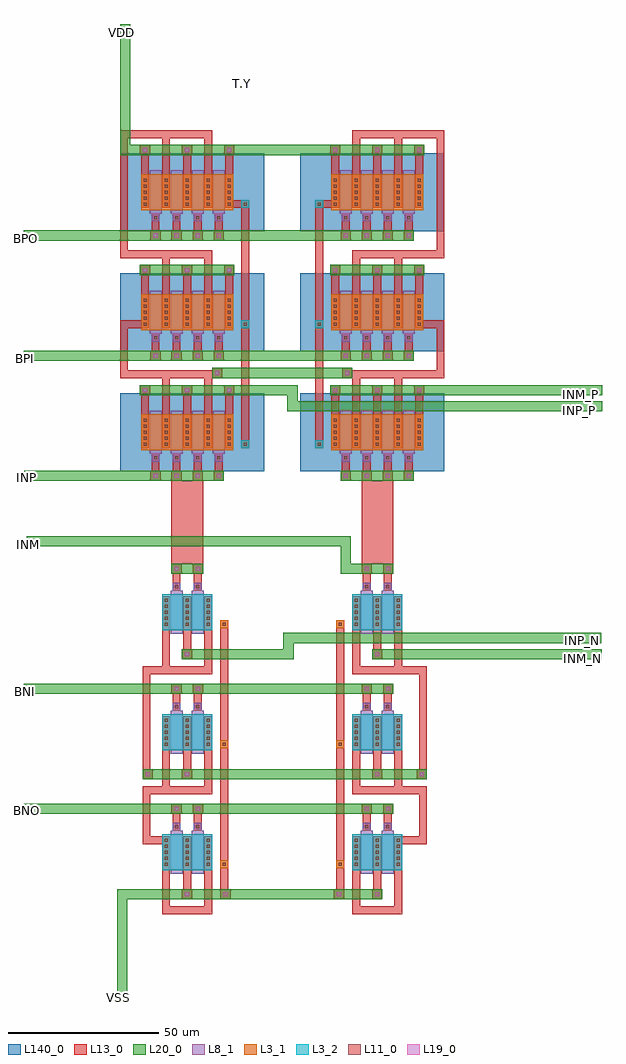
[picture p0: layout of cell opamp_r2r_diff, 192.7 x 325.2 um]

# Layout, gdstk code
import gdstk
lib = gdstk.Library(unit=1e-6, precision=1e-07)
def R(c, l, rs):  # rectangles x0, y0, x1, y1
    for r in rs: c.add(gdstk.rectangle(r[:2], r[2:], *l))
def A(c, l, x, y, w, h, nx, ny, dx, dy):  # array of equal rectangles
    R(c, l, [(x+i*dx, y+j*dy, x+i*dx+w, y+j*dy+h) for i in range(nx) for j in range(ny)])
L3_1 = (3, 1)
L3_2 = (3, 2)
L8_1 = (8, 1)
L11_0 = (11, 0)
L13_0 = (13, 0)
L19_0 = (19, 0)
L20_0 = (20, 0)
L140_0 = (140, 0)

fet_p = lib.new_cell('fet_p')
R(fet_p, L3_1, [(-15.3,-6,15.3,6)])
A(fet_p, L11_0, -14.5, -4.5, 1, 1, 5, 5, 7, 2)
A(fet_p, L13_0, -15.3, -5.3, 2.6, 10.6, 5, 1, 7, 0)
fet_p.add(gdstk.FlexPath([(3.5,-7.2),(3.5,7.2)], 4, ends="flush", simple_path=True, layer=8, datatype=1))  # L8_1
fet_p.add(gdstk.FlexPath([(-3.5,-7.2),(-3.5,7.2)], 4, ends="flush", simple_path=True, layer=8, datatype=1))  # L8_1
fet_p.add(gdstk.FlexPath([(10.5,-7.2),(10.5,7.2)], 4, ends="flush", simple_path=True, layer=8, datatype=1))  # L8_1
fet_p.add(gdstk.FlexPath([(-10.5,-7.2),(-10.5,7.2)], 4, ends="flush", simple_path=True, layer=8, datatype=1))  # L8_1

cont_g = lib.new_cell('cont_g')
R(cont_g, L8_1, [(-1.3,-1.3,1.3,1.3)])
R(cont_g, L11_0, [(-0.5,-0.5,0.5,0.5)])
R(cont_g, L13_0, [(-1.3,-1.3,1.3,1.3)])

via_1 = lib.new_cell('via_1')
R(via_1, L13_0, [(-1.7,-1.7,1.7,1.7)])
R(via_1, L19_0, [(-0.7,-0.7,0.7,0.7)])
R(via_1, L20_0, [(-1.7,-1.7,1.7,1.7)])

cont_n = lib.new_cell('cont_n')
R(cont_n, L3_2, [(-1.3,-1.3,1.3,1.3)])
R(cont_n, L11_0, [(-0.5,-0.5,0.5,0.5)])
R(cont_n, L13_0, [(-1.3,-1.3,1.3,1.3)])

fet_n = lib.new_cell('fet_n')
R(fet_n, L3_2, [(-8.3,-6,8.3,6)])
A(fet_n, L11_0, -7.5, -4.5, 1, 1, 3, 5, 7, 2)
A(fet_n, L13_0, -8.3, -5.3, 2.6, 10.6, 3, 1, 7, 0)
fet_n.add(gdstk.FlexPath([(3.5,-7.2),(3.5,7.2)], 4, ends="flush", simple_path=True, layer=8, datatype=1))  # L8_1
fet_n.add(gdstk.FlexPath([(-3.5,-7.2),(-3.5,7.2)], 4, ends="flush", simple_path=True, layer=8, datatype=1))  # L8_1

cont_p = lib.new_cell('cont_p')
R(cont_p, L3_1, [(-1.3,-1.3,1.3,1.3)])
R(cont_p, L11_0, [(-0.5,-0.5,0.5,0.5)])
R(cont_p, L13_0, [(-1.3,-1.3,1.3,1.3)])

opamp_r2r_diff = lib.new_cell('opamp_r2r_diff')
R(opamp_r2r_diff, L13_0, [(-5.2,-23.8,5.3,3.8), (58.2,-23.8,68.7,3.8)])
A(opamp_r2r_diff, L140_0, -22.3, 7, 48, 26, 1, 3, 0, 40)
A(opamp_r2r_diff, L140_0, 37.7, 7, 48, 26, 1, 3, 0, 40)
opamp_r2r_diff.add(gdstk.FlexPath([(44,94.7),(44,57.3)], 2.6, ends="flush", simple_path=True, layer=13, datatype=0))  # L13_0
opamp_r2r_diff.add(gdstk.FlexPath([(44,54.7),(44,17.3)], 2.6, ends="flush", simple_path=True, layer=13, datatype=0))  # L13_0
opamp_r2r_diff.add(gdstk.FlexPath([(71.7,39.3),(84.4,39.3),(84.4,56),(78.7,56)], 2.6, ends="flush", simple_path=True, layer=13, datatype=0))  # L13_0
opamp_r2r_diff.add(gdstk.FlexPath([(71.7,79.3),(84.4,79.3),(84.4,119.3),(71.7,119.3)], 2.6, ends="flush", simple_path=True, layer=13, datatype=0))  # L13_0
opamp_r2r_diff.add(gdstk.FlexPath([(52.9,90.2),(52.9,87.2)], 2.6, ends="flush", simple_path=True, layer=13, datatype=0))  # L13_0
opamp_r2r_diff.add(gdstk.FlexPath([(59.9,90.2),(59.9,87.2)], 2.6, ends="flush", simple_path=True, layer=13, datatype=0))  # L13_0
opamp_r2r_diff.add(gdstk.FlexPath([(66.9,90.2),(66.9,87.2)], 2.6, ends="flush", simple_path=True, layer=13, datatype=0))  # L13_0
opamp_r2r_diff.add(gdstk.FlexPath([(73.9,90.2),(73.9,87.2)], 2.6, ends="flush", simple_path=True, layer=13, datatype=0))  # L13_0
opamp_r2r_diff.add(gdstk.FlexPath([(52.9,50.2),(52.9,47.2)], 2.6, ends="flush", simple_path=True, layer=13, datatype=0))  # L13_0
opamp_r2r_diff.add(gdstk.FlexPath([(59.9,50.2),(59.9,47.2)], 2.6, ends="flush", simple_path=True, layer=13, datatype=0))  # L13_0
opamp_r2r_diff.add(gdstk.FlexPath([(66.9,50.2),(66.9,47.2)], 2.6, ends="flush", simple_path=True, layer=13, datatype=0))  # L13_0
opamp_r2r_diff.add(gdstk.FlexPath([(73.9,50.2),(73.9,47.2)], 2.6, ends="flush", simple_path=True, layer=13, datatype=0))  # L13_0
opamp_r2r_diff.add(gdstk.FlexPath([(52.9,10.2),(52.9,7.2)], 2.6, ends="flush", simple_path=True, layer=13, datatype=0))  # L13_0
opamp_r2r_diff.add(gdstk.FlexPath([(59.9,10.2),(59.9,7.2)], 2.6, ends="flush", simple_path=True, layer=13, datatype=0))  # L13_0
opamp_r2r_diff.add(gdstk.FlexPath([(66.9,10.2),(66.9,7.2)], 2.6, ends="flush", simple_path=True, layer=13, datatype=0))  # L13_0
opamp_r2r_diff.add(gdstk.FlexPath([(73.9,10.2),(73.9,7.2)], 2.6, ends="flush", simple_path=True, layer=13, datatype=0))  # L13_0
opamp_r2r_diff.add(gdstk.FlexPath([(56.4,65.3),(56.4,79.3)], 2.6, ends="flush", simple_path=True, layer=13, datatype=0))  # L13_0
opamp_r2r_diff.add(gdstk.FlexPath([(49.4,65.3),(49.4,72.3)], 2.6, ends="flush", simple_path=True, layer=13, datatype=0))  # L13_0
opamp_r2r_diff.add(gdstk.FlexPath([(63.4,65.3),(63.4,72.3)], 2.6, ends="flush", simple_path=True, layer=13, datatype=0))  # L13_0
opamp_r2r_diff.add(gdstk.FlexPath([(77.4,65.3),(77.4,72.3)], 2.6, ends="flush", simple_path=True, layer=13, datatype=0))  # L13_0
opamp_r2r_diff.add(gdstk.FlexPath([(70.4,65.3),(70.4,79.3)], 2.6, ends="flush", simple_path=True, layer=13, datatype=0))  # L13_0
opamp_r2r_diff.add(gdstk.FlexPath([(55.1,79.3),(71.7,79.3)], 2.6, ends="flush", simple_path=True, layer=13, datatype=0))  # L13_0
opamp_r2r_diff.add(gdstk.FlexPath([(56.4,105.3),(56.4,119.3)], 2.6, ends="flush", simple_path=True, layer=13, datatype=0))  # L13_0
opamp_r2r_diff.add(gdstk.FlexPath([(49.4,105.3),(49.4,112.3)], 2.6, ends="flush", simple_path=True, layer=13, datatype=0))  # L13_0
opamp_r2r_diff.add(gdstk.FlexPath([(63.4,105.3),(63.4,112.3)], 2.6, ends="flush", simple_path=True, layer=13, datatype=0))  # L13_0
opamp_r2r_diff.add(gdstk.FlexPath([(77.4,105.3),(77.4,112.3)], 2.6, ends="flush", simple_path=True, layer=13, datatype=0))  # L13_0
opamp_r2r_diff.add(gdstk.FlexPath([(70.4,105.3),(70.4,119.3)], 2.6, ends="flush", simple_path=True, layer=13, datatype=0))  # L13_0
opamp_r2r_diff.add(gdstk.FlexPath([(55.1,119.3),(71.7,119.3)], 2.6, ends="flush", simple_path=True, layer=13, datatype=0))  # L13_0
opamp_r2r_diff.add(gdstk.FlexPath([(56.4,25.3),(56.4,39.3)], 2.6, ends="flush", simple_path=True, layer=13, datatype=0))  # L13_0
opamp_r2r_diff.add(gdstk.FlexPath([(49.4,25.3),(49.4,32.3)], 2.6, ends="flush", simple_path=True, layer=13, datatype=0))  # L13_0
opamp_r2r_diff.add(gdstk.FlexPath([(63.4,25.3),(63.4,32.3)], 2.6, ends="flush", simple_path=True, layer=13, datatype=0))  # L13_0
opamp_r2r_diff.add(gdstk.FlexPath([(77.4,25.3),(77.4,32.3)], 2.6, ends="flush", simple_path=True, layer=13, datatype=0))  # L13_0
opamp_r2r_diff.add(gdstk.FlexPath([(70.4,25.3),(70.4,39.3)], 2.6, ends="flush", simple_path=True, layer=13, datatype=0))  # L13_0
opamp_r2r_diff.add(gdstk.FlexPath([(55.1,39.3),(71.7,39.3)], 2.6, ends="flush", simple_path=True, layer=13, datatype=0))  # L13_0
opamp_r2r_diff.add(gdstk.FlexPath([(48.1,96),(42.7,96)], 2.6, ends="flush", simple_path=True, layer=13, datatype=0))  # L13_0
opamp_r2r_diff.add(gdstk.FlexPath([(19.4,54.7),(19.4,17.3)], 2.6, ends="flush", simple_path=True, layer=13, datatype=0))  # L13_0
opamp_r2r_diff.add(gdstk.FlexPath([(-8.3,39.3),(-21,39.3),(-21,56),(-15.3,56)], 2.6, ends="flush", simple_path=True, layer=13, datatype=0))  # L13_0
opamp_r2r_diff.add(gdstk.FlexPath([(-8.3,79.3),(-21,79.3),(-21,119.3),(-8.3,119.3)], 2.6, ends="flush", simple_path=True, layer=13, datatype=0))  # L13_0
opamp_r2r_diff.add(gdstk.FlexPath([(19.4,94.7),(19.4,57.3)], 2.6, ends="flush", simple_path=True, layer=13, datatype=0))  # L13_0
opamp_r2r_diff.add(gdstk.FlexPath([(14,105.3),(14,112.3)], 2.6, ends="flush", simple_path=True, layer=13, datatype=0))  # L13_0
opamp_r2r_diff.add(gdstk.FlexPath([(7,105.3),(7,119.3)], 2.6, ends="flush", simple_path=True, layer=13, datatype=0))  # L13_0
opamp_r2r_diff.add(gdstk.FlexPath([(-8.3,119.3),(8.3,119.3)], 2.6, ends="flush", simple_path=True, layer=13, datatype=0))  # L13_0
opamp_r2r_diff.add(gdstk.FlexPath([(-7,25.3),(-7,39.3)], 2.6, ends="flush", simple_path=True, layer=13, datatype=0))  # L13_0
opamp_r2r_diff.add(gdstk.FlexPath([(-14,25.3),(-14,32.3)], 2.6, ends="flush", simple_path=True, layer=13, datatype=0))  # L13_0
opamp_r2r_diff.add(gdstk.FlexPath([(0,25.3),(0,32.3)], 2.6, ends="flush", simple_path=True, layer=13, datatype=0))  # L13_0
opamp_r2r_diff.add(gdstk.FlexPath([(14,25.3),(14,32.3)], 2.6, ends="flush", simple_path=True, layer=13, datatype=0))  # L13_0
opamp_r2r_diff.add(gdstk.FlexPath([(7,25.3),(7,39.3)], 2.6, ends="flush", simple_path=True, layer=13, datatype=0))  # L13_0
opamp_r2r_diff.add(gdstk.FlexPath([(-8.3,39.3),(8.3,39.3)], 2.6, ends="flush", simple_path=True, layer=13, datatype=0))  # L13_0
opamp_r2r_diff.add(gdstk.FlexPath([(-10.5,90.2),(-10.5,87.2)], 2.6, ends="flush", simple_path=True, layer=13, datatype=0))  # L13_0
opamp_r2r_diff.add(gdstk.FlexPath([(-3.5,90.2),(-3.5,87.2)], 2.6, ends="flush", simple_path=True, layer=13, datatype=0))  # L13_0
opamp_r2r_diff.add(gdstk.FlexPath([(3.5,90.2),(3.5,87.2)], 2.6, ends="flush", simple_path=True, layer=13, datatype=0))  # L13_0
opamp_r2r_diff.add(gdstk.FlexPath([(10.5,90.2),(10.5,87.2)], 2.6, ends="flush", simple_path=True, layer=13, datatype=0))  # L13_0
opamp_r2r_diff.add(gdstk.FlexPath([(-10.5,10.2),(-10.5,7.2)], 2.6, ends="flush", simple_path=True, layer=13, datatype=0))  # L13_0
opamp_r2r_diff.add(gdstk.FlexPath([(-3.5,10.2),(-3.5,7.2)], 2.6, ends="flush", simple_path=True, layer=13, datatype=0))  # L13_0
opamp_r2r_diff.add(gdstk.FlexPath([(3.5,10.2),(3.5,7.2)], 2.6, ends="flush", simple_path=True, layer=13, datatype=0))  # L13_0
opamp_r2r_diff.add(gdstk.FlexPath([(10.5,10.2),(10.5,7.2)], 2.6, ends="flush", simple_path=True, layer=13, datatype=0))  # L13_0
opamp_r2r_diff.add(gdstk.FlexPath([(-10.5,50.2),(-10.5,47.2)], 2.6, ends="flush", simple_path=True, layer=13, datatype=0))  # L13_0
opamp_r2r_diff.add(gdstk.FlexPath([(-3.5,50.2),(-3.5,47.2)], 2.6, ends="flush", simple_path=True, layer=13, datatype=0))  # L13_0
opamp_r2r_diff.add(gdstk.FlexPath([(3.5,50.2),(3.5,47.2)], 2.6, ends="flush", simple_path=True, layer=13, datatype=0))  # L13_0
opamp_r2r_diff.add(gdstk.FlexPath([(10.5,50.2),(10.5,47.2)], 2.6, ends="flush", simple_path=True, layer=13, datatype=0))  # L13_0
opamp_r2r_diff.add(gdstk.FlexPath([(-7,65.3),(-7,79.3)], 2.6, ends="flush", simple_path=True, layer=13, datatype=0))  # L13_0
opamp_r2r_diff.add(gdstk.FlexPath([(-14,65.3),(-14,72.3)], 2.6, ends="flush", simple_path=True, layer=13, datatype=0))  # L13_0
opamp_r2r_diff.add(gdstk.FlexPath([(0,65.3),(0,72.3)], 2.6, ends="flush", simple_path=True, layer=13, datatype=0))  # L13_0
opamp_r2r_diff.add(gdstk.FlexPath([(14,65.3),(14,72.3)], 2.6, ends="flush", simple_path=True, layer=13, datatype=0))  # L13_0
opamp_r2r_diff.add(gdstk.FlexPath([(7,65.3),(7,79.3)], 2.6, ends="flush", simple_path=True, layer=13, datatype=0))  # L13_0
opamp_r2r_diff.add(gdstk.FlexPath([(-8.3,79.3),(8.3,79.3)], 2.6, ends="flush", simple_path=True, layer=13, datatype=0))  # L13_0
opamp_r2r_diff.add(gdstk.FlexPath([(20.7,96),(15.3,96)], 2.6, ends="flush", simple_path=True, layer=13, datatype=0))  # L13_0
opamp_r2r_diff.add(gdstk.FlexPath([(-7,105.3),(-7,119.3)], 2.6, ends="flush", simple_path=True, layer=13, datatype=0))  # L13_0
opamp_r2r_diff.add(gdstk.FlexPath([(-14,105.3),(-14,112.3)], 2.6, ends="flush", simple_path=True, layer=13, datatype=0))  # L13_0
opamp_r2r_diff.add(gdstk.FlexPath([(0,105.3),(0,112.3)], 2.6, ends="flush", simple_path=True, layer=13, datatype=0))  # L13_0
opamp_r2r_diff.add(gdstk.FlexPath([(12.4,-45.3),(12.4,-82.7)], 2.6, ends="flush", simple_path=True, layer=13, datatype=0))  # L13_0
opamp_r2r_diff.add(gdstk.FlexPath([(-8.3,-99.3),(-13.5,-99.3),(-13.5,-116),(-8.3,-116)], 2.6, ends="flush", simple_path=True, layer=13, datatype=0))  # L13_0
opamp_r2r_diff.add(gdstk.FlexPath([(-8.3,-59.3),(-13.5,-59.3),(-13.5,-92.3)], 2.6, ends="flush", simple_path=True, layer=13, datatype=0))  # L13_0
opamp_r2r_diff.add(gdstk.FlexPath([(12.4,-85.3),(12.4,-122.7)], 2.6, ends="flush", simple_path=True, layer=13, datatype=0))  # L13_0
opamp_r2r_diff.add(gdstk.FlexPath([(12.4,-125.3),(12.4,-132.3)], 2.6, ends="flush", simple_path=True, layer=13, datatype=0))  # L13_0
opamp_r2r_diff.add(gdstk.FlexPath([(-7,-59.3),(-7,-45.3)], 2.6, ends="flush", simple_path=True, layer=13, datatype=0))  # L13_0
opamp_r2r_diff.add(gdstk.FlexPath([(7,-59.3),(7,-45.3)], 2.6, ends="flush", simple_path=True, layer=13, datatype=0))  # L13_0
opamp_r2r_diff.add(gdstk.FlexPath([(-8.3,-59.3),(8.3,-59.3)], 2.6, ends="flush", simple_path=True, layer=13, datatype=0))  # L13_0
opamp_r2r_diff.add(gdstk.FlexPath([(0,-52.3),(0,-45.3)], 2.6, ends="flush", simple_path=True, layer=13, datatype=0))  # L13_0
opamp_r2r_diff.add(gdstk.FlexPath([(-7,-99.3),(-7,-85.3)], 2.6, ends="flush", simple_path=True, layer=13, datatype=0))  # L13_0
opamp_r2r_diff.add(gdstk.FlexPath([(7,-99.3),(7,-85.3)], 2.6, ends="flush", simple_path=True, layer=13, datatype=0))  # L13_0
opamp_r2r_diff.add(gdstk.FlexPath([(-8.3,-99.3),(8.3,-99.3)], 2.6, ends="flush", simple_path=True, layer=13, datatype=0))  # L13_0
opamp_r2r_diff.add(gdstk.FlexPath([(0,-92.3),(0,-85.3)], 2.6, ends="flush", simple_path=True, layer=13, datatype=0))  # L13_0
opamp_r2r_diff.add(gdstk.FlexPath([(-7,-139.3),(-7,-125.3)], 2.6, ends="flush", simple_path=True, layer=13, datatype=0))  # L13_0
opamp_r2r_diff.add(gdstk.FlexPath([(7,-139.3),(7,-125.3)], 2.6, ends="flush", simple_path=True, layer=13, datatype=0))  # L13_0
opamp_r2r_diff.add(gdstk.FlexPath([(-8.3,-139.3),(8.3,-139.3)], 2.6, ends="flush", simple_path=True, layer=13, datatype=0))  # L13_0
opamp_r2r_diff.add(gdstk.FlexPath([(0,-132.3),(0,-125.3)], 2.6, ends="flush", simple_path=True, layer=13, datatype=0))  # L13_0
opamp_r2r_diff.add(gdstk.FlexPath([(-3.5,-27.2),(-3.5,-30.2)], 2.6, ends="flush", simple_path=True, layer=13, datatype=0))  # L13_0
opamp_r2r_diff.add(gdstk.FlexPath([(3.5,-27.2),(3.5,-30.2)], 2.6, ends="flush", simple_path=True, layer=13, datatype=0))  # L13_0
opamp_r2r_diff.add(gdstk.FlexPath([(-3.5,-67.2),(-3.5,-70.2)], 2.6, ends="flush", simple_path=True, layer=13, datatype=0))  # L13_0
opamp_r2r_diff.add(gdstk.FlexPath([(3.5,-67.2),(3.5,-70.2)], 2.6, ends="flush", simple_path=True, layer=13, datatype=0))  # L13_0
opamp_r2r_diff.add(gdstk.FlexPath([(-3.5,-107.2),(-3.5,-110.2)], 2.6, ends="flush", simple_path=True, layer=13, datatype=0))  # L13_0
opamp_r2r_diff.add(gdstk.FlexPath([(3.5,-107.2),(3.5,-110.2)], 2.6, ends="flush", simple_path=True, layer=13, datatype=0))  # L13_0
opamp_r2r_diff.add(gdstk.FlexPath([(51,-45.3),(51,-82.7)], 2.6, ends="flush", simple_path=True, layer=13, datatype=0))  # L13_0
opamp_r2r_diff.add(gdstk.FlexPath([(51,-122.7),(51,-85.3)], 2.6, ends="flush", simple_path=True, layer=13, datatype=0))  # L13_0
opamp_r2r_diff.add(gdstk.FlexPath([(71.7,-99.3),(78.6,-99.3),(78.6,-116),(71.7,-116)], 2.6, ends="flush", simple_path=True, layer=13, datatype=0))  # L13_0
opamp_r2r_diff.add(gdstk.FlexPath([(51,-125.3),(51,-132.3)], 2.6, ends="flush", simple_path=True, layer=13, datatype=0))  # L13_0
opamp_r2r_diff.add(gdstk.FlexPath([(71.7,-59.3),(78.6,-59.3),(78.6,-92.3)], 2.6, ends="flush", simple_path=True, layer=13, datatype=0))  # L13_0
opamp_r2r_diff.add(gdstk.FlexPath([(70.4,-59.3),(70.4,-45.3)], 2.6, ends="flush", simple_path=True, layer=13, datatype=0))  # L13_0
opamp_r2r_diff.add(gdstk.FlexPath([(56.4,-99.3),(56.4,-85.3)], 2.6, ends="flush", simple_path=True, layer=13, datatype=0))  # L13_0
opamp_r2r_diff.add(gdstk.FlexPath([(70.4,-99.3),(70.4,-85.3)], 2.6, ends="flush", simple_path=True, layer=13, datatype=0))  # L13_0
opamp_r2r_diff.add(gdstk.FlexPath([(55.1,-99.3),(71.7,-99.3)], 2.6, ends="flush", simple_path=True, layer=13, datatype=0))  # L13_0
opamp_r2r_diff.add(gdstk.FlexPath([(63.4,-92.3),(63.4,-85.3)], 2.6, ends="flush", simple_path=True, layer=13, datatype=0))  # L13_0
opamp_r2r_diff.add(gdstk.FlexPath([(56.4,-139.3),(56.4,-125.3)], 2.6, ends="flush", simple_path=True, layer=13, datatype=0))  # L13_0
opamp_r2r_diff.add(gdstk.FlexPath([(70.4,-139.3),(70.4,-125.3)], 2.6, ends="flush", simple_path=True, layer=13, datatype=0))  # L13_0
opamp_r2r_diff.add(gdstk.FlexPath([(55.1,-139.3),(71.7,-139.3)], 2.6, ends="flush", simple_path=True, layer=13, datatype=0))  # L13_0
opamp_r2r_diff.add(gdstk.FlexPath([(63.4,-132.3),(63.4,-125.3)], 2.6, ends="flush", simple_path=True, layer=13, datatype=0))  # L13_0
opamp_r2r_diff.add(gdstk.FlexPath([(55.1,-59.3),(71.7,-59.3)], 2.6, ends="flush", simple_path=True, layer=13, datatype=0))  # L13_0
opamp_r2r_diff.add(gdstk.FlexPath([(63.4,-52.3),(63.4,-45.3)], 2.6, ends="flush", simple_path=True, layer=13, datatype=0))  # L13_0
opamp_r2r_diff.add(gdstk.FlexPath([(59.9,-107.2),(59.9,-110.2)], 2.6, ends="flush", simple_path=True, layer=13, datatype=0))  # L13_0
opamp_r2r_diff.add(gdstk.FlexPath([(66.9,-107.2),(66.9,-110.2)], 2.6, ends="flush", simple_path=True, layer=13, datatype=0))  # L13_0
opamp_r2r_diff.add(gdstk.FlexPath([(59.9,-27.2),(59.9,-30.2)], 2.6, ends="flush", simple_path=True, layer=13, datatype=0))  # L13_0
opamp_r2r_diff.add(gdstk.FlexPath([(66.9,-27.2),(66.9,-30.2)], 2.6, ends="flush", simple_path=True, layer=13, datatype=0))  # L13_0
opamp_r2r_diff.add(gdstk.FlexPath([(59.9,-67.2),(59.9,-70.2)], 2.6, ends="flush", simple_path=True, layer=13, datatype=0))  # L13_0
opamp_r2r_diff.add(gdstk.FlexPath([(66.9,-67.2),(66.9,-70.2)], 2.6, ends="flush", simple_path=True, layer=13, datatype=0))  # L13_0
opamp_r2r_diff.add(gdstk.FlexPath([(56.4,-59.3),(56.4,-45.3)], 2.6, ends="flush", simple_path=True, layer=13, datatype=0))  # L13_0
opamp_r2r_diff.add(gdstk.FlexPath([(47.7,114),(15.7,114)], 3.4, ends="flush", simple_path=True, layer=20, datatype=0))  # L20_0
opamp_r2r_diff.add(gdstk.FlexPath([(-15.7,114),(-20.6,114),(-20.6,156)], 3.4, ends="flush", simple_path=True, layer=20, datatype=0))  # L20_0
opamp_r2r_diff.add(gdstk.FlexPath([(51.2,85.5),(12.2,85.5)], 3.4, ends="flush", simple_path=True, layer=20, datatype=0))  # L20_0
opamp_r2r_diff.add(gdstk.FlexPath([(-12.2,85.5),(-54.4,85.5)], 3.4, ends="flush", simple_path=True, layer=20, datatype=0))  # L20_0
opamp_r2r_diff.add(gdstk.FlexPath([(-12.2,85.5),(-54.4,85.5)], 3.4, ends="flush", simple_path=True, layer=20, datatype=0))  # L20_0
opamp_r2r_diff.add(gdstk.FlexPath([(-12.2,45.5),(-54.4,45.5)], 3.4, ends="flush", simple_path=True, layer=20, datatype=0))  # L20_0
opamp_r2r_diff.add(gdstk.FlexPath([(51.2,45.5),(12.2,45.5)], 3.4, ends="flush", simple_path=True, layer=20, datatype=0))  # L20_0
opamp_r2r_diff.add(gdstk.FlexPath([(58.2,-65.5),(5.3,-65.5)], 3.4, ends="flush", simple_path=True, layer=20, datatype=0))  # L20_0
opamp_r2r_diff.add(gdstk.FlexPath([(58.2,-105.5),(5.3,-105.5)], 3.4, ends="flush", simple_path=True, layer=20, datatype=0))  # L20_0
opamp_r2r_diff.add(gdstk.FlexPath([(-5.2,-65.5),(-54.4,-65.5)], 3.4, ends="flush", simple_path=True, layer=20, datatype=0))  # L20_0
opamp_r2r_diff.add(gdstk.FlexPath([(-5.2,-105.5),(-54.4,-105.5)], 3.4, ends="flush", simple_path=True, layer=20, datatype=0))  # L20_0
opamp_r2r_diff.add(gdstk.FlexPath([(61.7,-134),(1.7,-134)], 3.4, ends="flush", simple_path=True, layer=20, datatype=0))  # L20_0
opamp_r2r_diff.add(gdstk.FlexPath([(-1.7,-134),(-21.6,-134),(-21.6,-169.2)], 3.4, ends="flush", simple_path=True, layer=20, datatype=0))  # L20_0
opamp_r2r_diff.add(gdstk.FlexPath([(1.7,-94),(-14.8,-94)], 3.4, ends="flush", simple_path=True, layer=20, datatype=0))  # L20_0
opamp_r2r_diff.add(gdstk.FlexPath([(61.7,-94),(79.9,-94)], 3.4, ends="flush", simple_path=True, layer=20, datatype=0))  # L20_0
opamp_r2r_diff.add(gdstk.FlexPath([(65.1,-54),(138.1,-54)], 3.4, ends="flush", simple_path=True, layer=20, datatype=0))  # L20_0
opamp_r2r_diff.add(gdstk.FlexPath([(1.7,-54),(33.8,-54),(33.8,-48.6),(138,-48.6)], 3.4, ends="flush", simple_path=True, layer=20, datatype=0))  # L20_0
opamp_r2r_diff.add(gdstk.FlexPath([(79.1,34),(138.3,34)], 3.4, ends="flush", simple_path=True, layer=20, datatype=0))  # L20_0
opamp_r2r_diff.add(gdstk.FlexPath([(15.7,34),(35.1,34),(35.1,28.6),(138.3,28.6)], 3.4, ends="flush", simple_path=True, layer=20, datatype=0))  # L20_0
opamp_r2r_diff.add(gdstk.FlexPath([(58.2,-25.5),(52.9,-25.5),(52.9,-16.3),(-53.5,-16.3)], 3.4, ends="flush", simple_path=True, layer=20, datatype=0))  # L20_0
opamp_r2r_diff.add(gdstk.FlexPath([(51.7,39.7),(11.7,39.7)], 3.4, ends="flush", simple_path=True, layer=20, datatype=0))  # L20_0
opamp_r2r_diff.add(gdstk.FlexPath([(-12.2,5.5),(-54.2,5.5)], 3.4, ends="flush", simple_path=True, layer=20, datatype=0))  # L20_0
opamp_r2r_diff.add(gdstk.FlexPath([(1.7,-94),(61.7,-94)], 3.4, ends="flush", simple_path=True, layer=20, datatype=0))  # L20_0
opamp_r2r_diff.add(gdstk.FlexPath([(-15.7,74),(15.7,74)], 3.4, ends="flush", simple_path=True, layer=20, datatype=0))  # L20_0
opamp_r2r_diff.add(gdstk.FlexPath([(12.2,85.5),(-12.2,85.5)], 3.4, ends="flush", simple_path=True, layer=20, datatype=0))  # L20_0
opamp_r2r_diff.add(gdstk.FlexPath([(75.6,85.5),(51.2,85.5)], 3.4, ends="flush", simple_path=True, layer=20, datatype=0))  # L20_0
opamp_r2r_diff.add(gdstk.FlexPath([(12.2,45.5),(-12.2,45.5)], 3.4, ends="flush", simple_path=True, layer=20, datatype=0))  # L20_0
opamp_r2r_diff.add(gdstk.FlexPath([(12.2,5.5),(-12.2,5.5)], 3.4, ends="flush", simple_path=True, layer=20, datatype=0))  # L20_0
opamp_r2r_diff.add(gdstk.FlexPath([(75.6,45.5),(51.2,45.5)], 3.4, ends="flush", simple_path=True, layer=20, datatype=0))  # L20_0
opamp_r2r_diff.add(gdstk.FlexPath([(75.6,5.5),(51.2,5.5)], 3.4, ends="flush", simple_path=True, layer=20, datatype=0))  # L20_0
opamp_r2r_diff.add(gdstk.FlexPath([(-5.2,-25.5),(5.3,-25.5)], 3.4, ends="flush", simple_path=True, layer=20, datatype=0))  # L20_0
opamp_r2r_diff.add(gdstk.FlexPath([(58.2,-25.5),(68.7,-25.5)], 3.4, ends="flush", simple_path=True, layer=20, datatype=0))  # L20_0
opamp_r2r_diff.add(gdstk.FlexPath([(-5.2,-65.5),(5.3,-65.5)], 3.4, ends="flush", simple_path=True, layer=20, datatype=0))  # L20_0
opamp_r2r_diff.add(gdstk.FlexPath([(58.2,-65.5),(68.7,-65.5)], 3.4, ends="flush", simple_path=True, layer=20, datatype=0))  # L20_0
opamp_r2r_diff.add(gdstk.FlexPath([(-5.2,-105.5),(5.3,-105.5)], 3.4, ends="flush", simple_path=True, layer=20, datatype=0))  # L20_0
opamp_r2r_diff.add(gdstk.FlexPath([(58.2,-105.5),(68.7,-105.5)], 3.4, ends="flush", simple_path=True, layer=20, datatype=0))  # L20_0
opamp_r2r_diff.add(gdstk.FlexPath([(-15.7,114),(15.7,114)], 3.4, ends="flush", simple_path=True, layer=20, datatype=0))  # L20_0
opamp_r2r_diff.add(gdstk.FlexPath([(-15.7,34),(15.7,34)], 3.4, ends="flush", simple_path=True, layer=20, datatype=0))  # L20_0
opamp_r2r_diff.add(gdstk.FlexPath([(47.7,74),(79.1,74)], 3.4, ends="flush", simple_path=True, layer=20, datatype=0))  # L20_0
opamp_r2r_diff.add(gdstk.FlexPath([(47.7,114),(79.1,114)], 3.4, ends="flush", simple_path=True, layer=20, datatype=0))  # L20_0
opamp_r2r_diff.add(gdstk.FlexPath([(47.7,34),(79.1,34)], 3.4, ends="flush", simple_path=True, layer=20, datatype=0))  # L20_0
opamp_r2r_diff.add(gdstk.Reference(fet_p, (63.4,60)))
opamp_r2r_diff.add(gdstk.Reference(fet_p, (63.4,100)))
opamp_r2r_diff.add(gdstk.Reference(fet_p, (63.4,20)))
opamp_r2r_diff.add(gdstk.Reference(cont_g, (52.9,91.5)))
opamp_r2r_diff.add(gdstk.Reference(cont_g, (52.9,51.5)))
opamp_r2r_diff.add(gdstk.Reference(cont_g, (52.9,11.5)))
opamp_r2r_diff.add(gdstk.Reference(cont_g, (59.9,91.5)))
opamp_r2r_diff.add(gdstk.Reference(cont_g, (66.9,91.5)))
opamp_r2r_diff.add(gdstk.Reference(cont_g, (73.9,91.5)))
opamp_r2r_diff.add(gdstk.Reference(cont_g, (59.9,51.5)))
opamp_r2r_diff.add(gdstk.Reference(cont_g, (66.9,51.5)))
opamp_r2r_diff.add(gdstk.Reference(cont_g, (73.9,51.5)))
opamp_r2r_diff.add(gdstk.Reference(cont_g, (59.9,11.5)))
opamp_r2r_diff.add(gdstk.Reference(cont_g, (66.9,11.5)))
opamp_r2r_diff.add(gdstk.Reference(cont_g, (73.9,11.5)))
opamp_r2r_diff.add(gdstk.Reference(via_1, (52.9,85.5)))
opamp_r2r_diff.add(gdstk.Reference(via_1, (59.9,85.5)))
opamp_r2r_diff.add(gdstk.Reference(via_1, (66.9,85.5)))
opamp_r2r_diff.add(gdstk.Reference(via_1, (73.9,85.5)))
opamp_r2r_diff.add(gdstk.Reference(via_1, (52.9,45.5)))
opamp_r2r_diff.add(gdstk.Reference(via_1, (59.9,45.5)))
opamp_r2r_diff.add(gdstk.Reference(via_1, (66.9,45.5)))
opamp_r2r_diff.add(gdstk.Reference(via_1, (73.9,45.5)))
opamp_r2r_diff.add(gdstk.Reference(via_1, (52.9,5.5)))
opamp_r2r_diff.add(gdstk.Reference(via_1, (59.9,5.5)))
opamp_r2r_diff.add(gdstk.Reference(via_1, (66.9,5.5)))
opamp_r2r_diff.add(gdstk.Reference(via_1, (73.9,5.5)))
opamp_r2r_diff.add(gdstk.Reference(via_1, (49.4,74)))
opamp_r2r_diff.add(gdstk.Reference(via_1, (63.4,74)))
opamp_r2r_diff.add(gdstk.Reference(via_1, (77.4,74)))
opamp_r2r_diff.add(gdstk.Reference(via_1, (49.4,114)))
opamp_r2r_diff.add(gdstk.Reference(via_1, (63.4,114)))
opamp_r2r_diff.add(gdstk.Reference(via_1, (77.4,114)))
opamp_r2r_diff.add(gdstk.Reference(via_1, (49.4,34)))
opamp_r2r_diff.add(gdstk.Reference(via_1, (63.4,34)))
opamp_r2r_diff.add(gdstk.Reference(via_1, (77.4,34)))
opamp_r2r_diff.add(gdstk.Reference(cont_n, (44,96)))
opamp_r2r_diff.add(gdstk.Reference(cont_n, (44,56)))
opamp_r2r_diff.add(gdstk.Reference(cont_n, (44,16)))
opamp_r2r_diff.add(gdstk.Reference(via_1, (53.4,39.7)))
opamp_r2r_diff.add(gdstk.Reference(via_1, (3.5,45.5)))
opamp_r2r_diff.add(gdstk.Reference(via_1, (10.5,45.5)))
opamp_r2r_diff.add(gdstk.Reference(cont_g, (3.5,51.5)))
opamp_r2r_diff.add(gdstk.Reference(cont_g, (10.5,51.5)))
opamp_r2r_diff.add(gdstk.Reference(fet_p, (0,60)))
opamp_r2r_diff.add(gdstk.Reference(fet_p, (0,100)))
opamp_r2r_diff.add(gdstk.Reference(via_1, (-10.5,5.5)))
opamp_r2r_diff.add(gdstk.Reference(via_1, (-3.5,5.5)))
opamp_r2r_diff.add(gdstk.Reference(via_1, (3.5,5.5)))
opamp_r2r_diff.add(gdstk.Reference(via_1, (10.5,5.5)))
opamp_r2r_diff.add(gdstk.Reference(cont_g, (-10.5,91.5)))
opamp_r2r_diff.add(gdstk.Reference(cont_g, (-3.5,11.5)))
opamp_r2r_diff.add(gdstk.Reference(cont_g, (3.5,11.5)))
opamp_r2r_diff.add(gdstk.Reference(cont_g, (10.5,11.5)))
opamp_r2r_diff.add(gdstk.Reference(via_1, (-14,74)))
opamp_r2r_diff.add(gdstk.Reference(via_1, (0,74)))
opamp_r2r_diff.add(gdstk.Reference(via_1, (14,74)))
opamp_r2r_diff.add(gdstk.Reference(via_1, (-14,114)))
opamp_r2r_diff.add(gdstk.Reference(via_1, (0,114)))
opamp_r2r_diff.add(gdstk.Reference(via_1, (14,114)))
opamp_r2r_diff.add(gdstk.Reference(via_1, (-14,34)))
opamp_r2r_diff.add(gdstk.Reference(via_1, (0,34)))
opamp_r2r_diff.add(gdstk.Reference(via_1, (14,34)))
opamp_r2r_diff.add(gdstk.Reference(cont_g, (-3.5,91.5)))
opamp_r2r_diff.add(gdstk.Reference(cont_g, (3.5,91.5)))
opamp_r2r_diff.add(gdstk.Reference(cont_g, (10.5,91.5)))
opamp_r2r_diff.add(gdstk.Reference(via_1, (-10.5,85.5)))
opamp_r2r_diff.add(gdstk.Reference(via_1, (-3.5,85.5)))
opamp_r2r_diff.add(gdstk.Reference(via_1, (3.5,85.5)))
opamp_r2r_diff.add(gdstk.Reference(via_1, (10.5,85.5)))
opamp_r2r_diff.add(gdstk.Reference(fet_p, (0,20)))
opamp_r2r_diff.add(gdstk.Reference(cont_g, (-10.5,51.5)))
opamp_r2r_diff.add(gdstk.Reference(cont_n, (19.4,96)))
opamp_r2r_diff.add(gdstk.Reference(cont_g, (-10.5,11.5)))
opamp_r2r_diff.add(gdstk.Reference(cont_n, (19.4,56)))
opamp_r2r_diff.add(gdstk.Reference(cont_g, (-3.5,51.5)))
opamp_r2r_diff.add(gdstk.Reference(cont_n, (19.4,16)))
opamp_r2r_diff.add(gdstk.Reference(via_1, (-10.5,45.5)))
opamp_r2r_diff.add(gdstk.Reference(via_1, (10,39.7)))
opamp_r2r_diff.add(gdstk.Reference(via_1, (-3.5,45.5)))
opamp_r2r_diff.add(gdstk.Reference(via_1, (-3.5,-65.5)))
opamp_r2r_diff.add(gdstk.Reference(via_1, (3.6,-65.5)))
opamp_r2r_diff.add(gdstk.Reference(via_1, (-3.5,-105.5)))
opamp_r2r_diff.add(gdstk.Reference(via_1, (3.6,-105.5)))
opamp_r2r_diff.add(gdstk.Reference(cont_g, (-3.5,-111.5)))
opamp_r2r_diff.add(gdstk.Reference(cont_g, (3.5,-111.5)))
opamp_r2r_diff.add(gdstk.Reference(fet_n, (0,-40)))
opamp_r2r_diff.add(gdstk.Reference(via_1, (0,-54)))
opamp_r2r_diff.add(gdstk.Reference(via_1, (0,-94)))
opamp_r2r_diff.add(gdstk.Reference(via_1, (0,-134)))
opamp_r2r_diff.add(gdstk.Reference(cont_p, (12.4,-44)))
opamp_r2r_diff.add(gdstk.Reference(fet_n, (0,-80)))
opamp_r2r_diff.add(gdstk.Reference(fet_n, (0,-120)))
opamp_r2r_diff.add(gdstk.Reference(cont_g, (-3.5,-31.5)))
opamp_r2r_diff.add(gdstk.Reference(cont_g, (3.5,-31.5)))
opamp_r2r_diff.add(gdstk.Reference(cont_g, (-3.5,-71.5)))
opamp_r2r_diff.add(gdstk.Reference(cont_g, (3.5,-71.5)))
opamp_r2r_diff.add(gdstk.Reference(cont_p, (12.4,-84)))
opamp_r2r_diff.add(gdstk.Reference(cont_p, (12.4,-124)))
opamp_r2r_diff.add(gdstk.Reference(via_1, (12.8,-134)))
opamp_r2r_diff.add(gdstk.Reference(via_1, (-13.1,-94)))
opamp_r2r_diff.add(gdstk.Reference(via_1, (-3.5,-25.5)))
opamp_r2r_diff.add(gdstk.Reference(via_1, (3.6,-25.5)))
opamp_r2r_diff.add(gdstk.Reference(via_1, (63.4,-54)))
opamp_r2r_diff.add(gdstk.Reference(cont_g, (66.9,-111.5)))
opamp_r2r_diff.add(gdstk.Reference(via_1, (59.9,-25.5)))
opamp_r2r_diff.add(gdstk.Reference(via_1, (63.4,-94)))
opamp_r2r_diff.add(gdstk.Reference(via_1, (63.4,-134)))
opamp_r2r_diff.add(gdstk.Reference(via_1, (67,-25.5)))
opamp_r2r_diff.add(gdstk.Reference(cont_g, (66.9,-31.5)))
opamp_r2r_diff.add(gdstk.Reference(fet_n, (63.4,-40)))
opamp_r2r_diff.add(gdstk.Reference(fet_n, (63.4,-120)))
opamp_r2r_diff.add(gdstk.Reference(cont_g, (59.9,-71.5)))
opamp_r2r_diff.add(gdstk.Reference(via_1, (59.9,-65.5)))
opamp_r2r_diff.add(gdstk.Reference(via_1, (67,-65.5)))
opamp_r2r_diff.add(gdstk.Reference(cont_p, (51,-44)))
opamp_r2r_diff.add(gdstk.Reference(via_1, (59.9,-105.5)))
opamp_r2r_diff.add(gdstk.Reference(cont_p, (51,-84)))
opamp_r2r_diff.add(gdstk.Reference(via_1, (67,-105.5)))
opamp_r2r_diff.add(gdstk.Reference(cont_p, (51,-124)))
opamp_r2r_diff.add(gdstk.Reference(cont_g, (66.9,-71.5)))
opamp_r2r_diff.add(gdstk.Reference(via_1, (50.6,-134)))
opamp_r2r_diff.add(gdstk.Reference(fet_n, (63.4,-80)))
opamp_r2r_diff.add(gdstk.Reference(via_1, (78.2,-94)))
opamp_r2r_diff.add(gdstk.Reference(cont_g, (59.9,-31.5)))
opamp_r2r_diff.add(gdstk.Reference(cont_g, (59.9,-111.5)))
opamp_r2r_diff.add(gdstk.Label('T.Y', (18.1,136.1), layer=13, texttype=0))
opamp_r2r_diff.add(gdstk.Label('BNO', (-53.6,-106.2), layer=49, texttype=0))
opamp_r2r_diff.add(gdstk.Label('BNI', (-53.8,-66.5), layer=49, texttype=0))
opamp_r2r_diff.add(gdstk.Label('BPI', (-53.8,44.4), layer=49, texttype=0))
opamp_r2r_diff.add(gdstk.Label('BPO', (-53.8,84.5), layer=49, texttype=0))
opamp_r2r_diff.add(gdstk.Label('VDD', (-22,153.3), layer=49, texttype=0))
opamp_r2r_diff.add(gdstk.Label('VSS', (-22.8,-168.3), layer=49, texttype=0))
opamp_r2r_diff.add(gdstk.Label('INP_N', (131.8,-49.5), layer=49, texttype=0))
opamp_r2r_diff.add(gdstk.Label('INM_N', (131.9,-55.3), layer=49, texttype=0))
opamp_r2r_diff.add(gdstk.Label('INM_P', (131,32.7), layer=49, texttype=0))
opamp_r2r_diff.add(gdstk.Label('INP_P', (130.9,27.3), layer=49, texttype=0))
opamp_r2r_diff.add(gdstk.Label('INP', (-53.5,4.8), layer=49, texttype=0))
opamp_r2r_diff.add(gdstk.Label('INM', (-52.8,-17.3), layer=49, texttype=0))

lib.write_gds('opamp_r2r_diff.gds')
